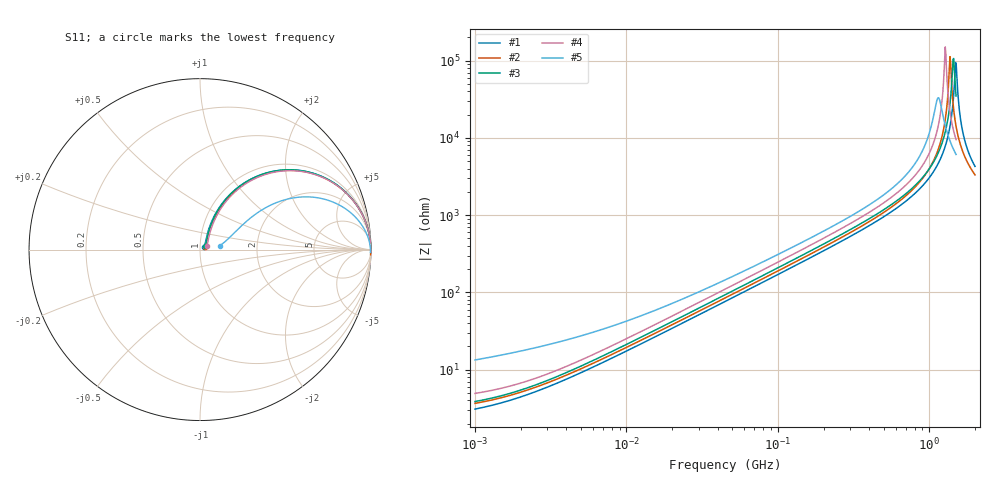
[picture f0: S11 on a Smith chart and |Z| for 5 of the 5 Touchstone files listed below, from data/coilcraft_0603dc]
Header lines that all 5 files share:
# MHz  S  MA  R  50
!Freq  MagS11  AngS11  MagS21  AngS21  MagS12  AngS12  MagS22  AngS22
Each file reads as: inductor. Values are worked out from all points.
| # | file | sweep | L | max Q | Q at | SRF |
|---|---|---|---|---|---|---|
| 1 | 0603DC-R27.s2p | 1 MHz to 2 GHz | 270 nH | 46.4 | 581.6 MHz | 1.49 GHz |
| 2 | 0603DC-R30.s2p | 1 MHz to 2 GHz | 300 nH | 44.7 | 554.6 MHz | 1.368 GHz |
| 3 | 0603DC-R33.s2p | 1 MHz to 1.5 GHz | 330 nH | 56.3 | 543.8 MHz | 1.433 GHz |
| 4 | 0603DC-R39.s2p | 1 MHz to 1.5 GHz | 390 nH | 53.8 | 524.2 MHz | 1.272 GHz |
| 5 | 0603DC-R47.s2p | 1 MHz to 1.5 GHz | 470 nH | 6.36 | 482.8 MHz | 1.14 GHz |
